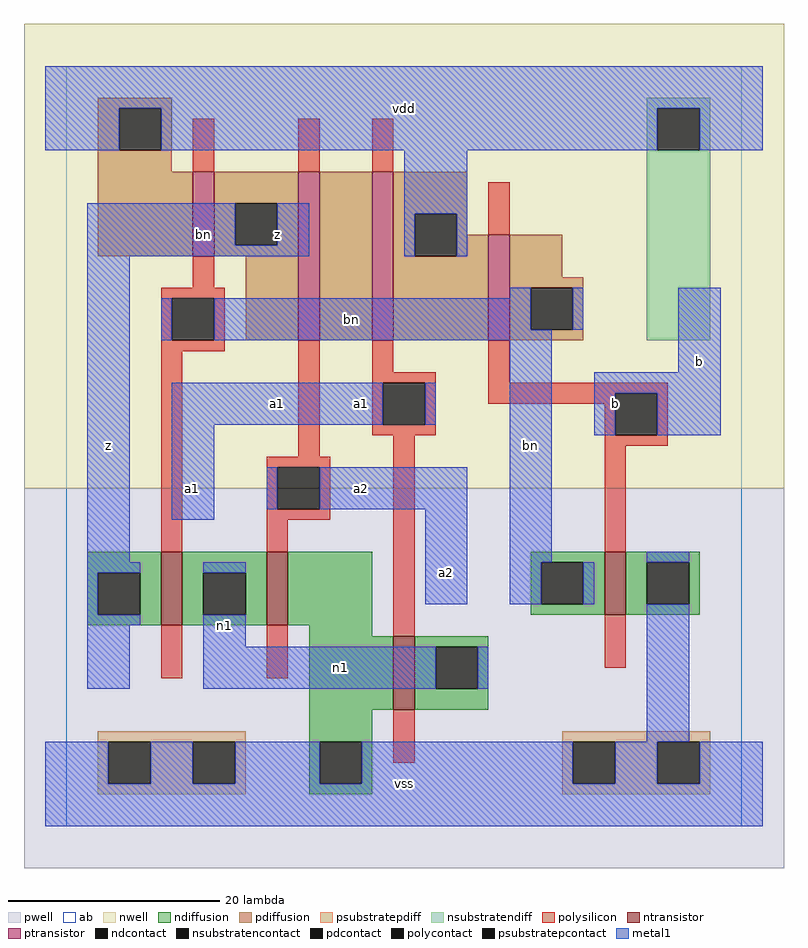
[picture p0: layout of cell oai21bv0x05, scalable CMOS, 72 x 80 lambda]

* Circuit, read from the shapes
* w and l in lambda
.subckt oai21bv0x05 a1 a2 b bn n1 vdd vss z
M1 n1 bn z vss nfet w=7 l=2
M2 vss a2 n1 vss nfet w=7 l=2
M3 n1 a1 vss vss nfet w=7 l=2
M4 vss b bn vss nfet w=6 l=2
M5 z bn vdd vdd pfet w=8 l=2
M6 n2 a2 z vdd pfet w=16 l=2
M7 vdd a1 n2 vdd pfet w=16 l=2
M8 bn b vdd vdd pfet w=10 l=2
.ends

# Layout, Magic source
magic
tech scmos
<< ab >>
rect 0 0 64 72
<< pwell >>
rect -4 -4 68 32
<< nwell >>
rect -4 32 68 76
<< polysilicon >>
rect 12 62 14 67
rect 22 62 24 67
rect 29 62 31 67
rect 12 51 14 54
rect 9 50 15 51
rect 9 46 10 50
rect 14 46 15 50
rect 40 56 42 61
rect 9 45 15 46
rect 9 26 11 45
rect 22 35 24 46
rect 29 43 31 46
rect 29 42 35 43
rect 29 38 30 42
rect 34 38 35 42
rect 40 42 42 46
rect 40 41 57 42
rect 40 40 52 41
rect 29 37 35 38
rect 51 37 52 40
rect 56 37 57 41
rect 19 34 25 35
rect 19 30 20 34
rect 24 30 25 34
rect 19 29 25 30
rect 19 26 21 29
rect 9 14 11 19
rect 19 14 21 19
rect 31 18 33 37
rect 51 36 57 37
rect 51 26 53 36
rect 51 15 53 20
rect 31 6 33 11
<< ndiffusion >>
rect 2 24 9 26
rect 2 20 3 24
rect 7 20 9 24
rect 2 19 9 20
rect 11 24 19 26
rect 11 20 13 24
rect 17 20 19 24
rect 11 19 19 20
rect 21 19 29 26
rect 23 18 29 19
rect 44 25 51 26
rect 44 21 45 25
rect 49 21 51 25
rect 44 20 51 21
rect 53 25 60 26
rect 53 21 55 25
rect 59 21 60 25
rect 53 20 60 21
rect 23 11 31 18
rect 33 17 40 18
rect 33 13 35 17
rect 39 13 40 17
rect 33 11 40 13
rect 23 8 29 11
rect 23 4 24 8
rect 28 4 29 8
rect 23 3 29 4
<< pdiffusion >>
rect 3 68 10 69
rect 3 64 5 68
rect 9 64 10 68
rect 3 62 10 64
rect 3 54 12 62
rect 14 59 22 62
rect 14 55 16 59
rect 20 55 22 59
rect 14 54 22 55
rect 17 46 22 54
rect 24 46 29 62
rect 31 58 38 62
rect 31 54 33 58
rect 37 56 38 58
rect 37 54 40 56
rect 31 46 40 54
rect 42 52 47 56
rect 42 51 49 52
rect 42 47 44 51
rect 48 47 49 51
rect 42 46 49 47
<< metal1 >>
rect -2 68 66 72
rect -2 64 5 68
rect 9 64 56 68
rect 60 64 66 68
rect 2 55 16 59
rect 20 55 23 59
rect 2 54 23 55
rect 32 58 38 64
rect 32 54 33 58
rect 37 54 38 58
rect 2 25 6 54
rect 42 50 44 51
rect 9 46 10 50
rect 14 47 44 50
rect 48 47 49 51
rect 14 46 46 47
rect 10 38 30 42
rect 34 38 35 42
rect 10 29 14 38
rect 19 30 20 34
rect 24 30 38 34
rect 2 24 7 25
rect 2 20 3 24
rect 2 19 7 20
rect 13 24 17 25
rect 34 21 38 30
rect 42 25 46 46
rect 58 43 62 51
rect 50 41 62 43
rect 50 37 52 41
rect 56 37 62 41
rect 55 25 59 26
rect 42 21 45 25
rect 49 21 50 25
rect 2 13 6 19
rect 13 17 17 20
rect 13 13 35 17
rect 39 13 40 17
rect 55 8 59 21
rect -2 4 4 8
rect 8 4 12 8
rect 16 4 24 8
rect 28 4 48 8
rect 52 4 56 8
rect 60 4 66 8
rect -2 0 66 4
<< ntransistor >>
rect 9 19 11 26
rect 19 19 21 26
rect 51 20 53 26
rect 31 11 33 18
<< ptransistor >>
rect 12 54 14 62
rect 22 46 24 62
rect 29 46 31 62
rect 40 46 42 56
<< polycontact >>
rect 10 46 14 50
rect 30 38 34 42
rect 52 37 56 41
rect 20 30 24 34
<< ndcontact >>
rect 3 20 7 24
rect 13 20 17 24
rect 45 21 49 25
rect 55 21 59 25
rect 35 13 39 17
rect 24 4 28 8
<< pdcontact >>
rect 5 64 9 68
rect 16 55 20 59
rect 33 54 37 58
rect 44 47 48 51
<< psubstratepcontact >>
rect 4 4 8 8
rect 12 4 16 8
rect 48 4 52 8
rect 56 4 60 8
<< nsubstratencontact >>
rect 56 64 60 68
<< psubstratepdiff >>
rect 3 8 17 9
rect 3 4 4 8
rect 8 4 12 8
rect 16 4 17 8
rect 3 3 17 4
rect 47 8 61 9
rect 47 4 48 8
rect 52 4 56 8
rect 60 4 61 8
rect 47 3 61 4
<< nsubstratendiff >>
rect 55 68 61 69
rect 55 64 56 68
rect 60 64 61 68
rect 55 46 61 64
<< labels >>
rlabel ptransistor 13 56 13 56 6 bn
rlabel metal1 12 32 12 32 6 a1
rlabel metal1 4 36 4 36 6 z
rlabel metal1 12 56 12 56 6 z
rlabel metal1 15 19 15 19 6 n1
rlabel metal1 28 32 28 32 6 a2
rlabel metal1 28 40 28 40 6 a1
rlabel metal1 20 40 20 40 6 a1
rlabel metal1 20 56 20 56 6 z
rlabel metal1 32 4 32 4 6 vss
rlabel metal1 26 15 26 15 6 n1
rlabel metal1 36 24 36 24 6 a2
rlabel metal1 44 36 44 36 6 bn
rlabel metal1 27 48 27 48 6 bn
rlabel metal1 32 68 32 68 6 vdd
rlabel metal1 52 40 52 40 6 b
rlabel metal1 60 44 60 44 6 b
<< end >>
